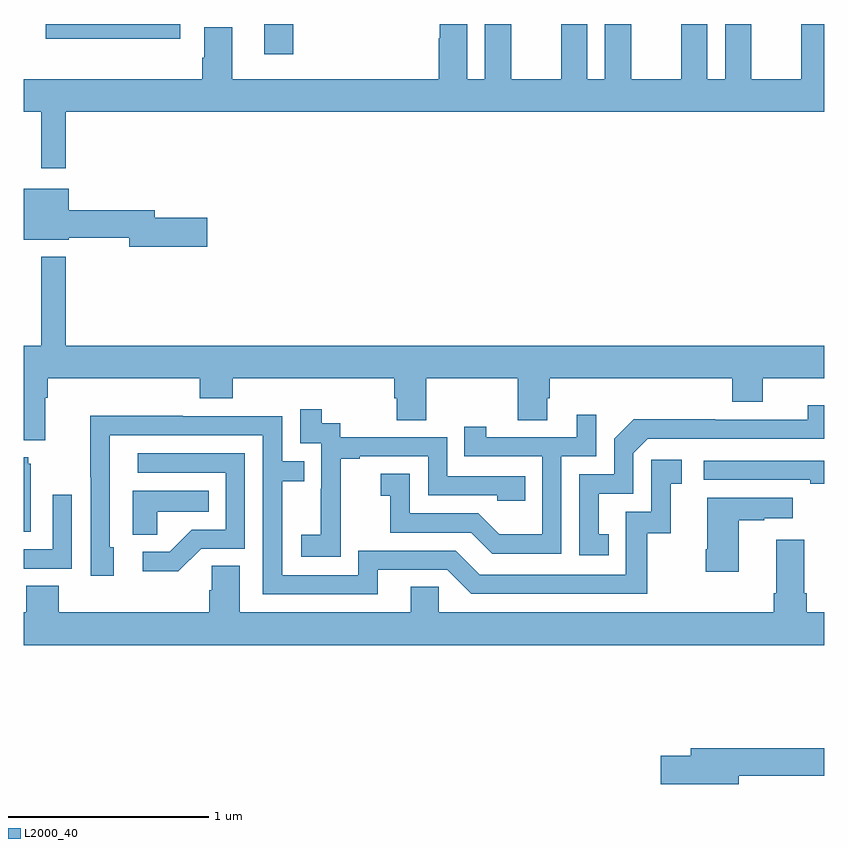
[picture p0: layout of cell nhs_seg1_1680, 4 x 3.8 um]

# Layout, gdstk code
import gdstk
lib = gdstk.Library(unit=1e-6, precision=1e-09)
def R(c, l, rs):  # rectangles x0, y0, x1, y1
    for r in rs: c.add(gdstk.rectangle(r[:2], r[2:], *l))
def P(c, l, *ps):  # polygons
    for p in ps: c.add(gdstk.Polygon(p, *l))
L2000_40 = (2000, 40)

nhs_seg1_1680 = lib.new_cell('nhs_seg1_1680')
R(nhs_seg1_1680, L2000_40, [(204.203,524.049,204.347,524.199), (203.109,524.126,203.782,524.199)])
P(nhs_seg1_1680, L2000_40, [(203.209,523.76),(207,523.76),(207,524.199),(206.885,524.199),(206.885,523.924),(206.635,523.924),(206.635,524.199),(206.504,524.199),(206.504,523.924),(206.416,523.924),(206.416,524.199),(206.285,524.199),(206.285,523.924),(206.035,523.924),(206.035,524.199),(205.904,524.199),(205.904,523.924),(205.816,523.924),(205.816,524.199),(205.685,524.199),(205.685,523.924),(205.435,523.924),(205.435,524.199),(205.304,524.199),(205.304,523.924),(205.216,523.924),(205.216,524.199),(205.079,524.199),(205.079,524.129),(205.073,524.129),(205.073,523.924),(204.043,523.924),(204.043,524.182),(203.903,524.182),(203.903,524.03),(203.891,524.03),(203.891,523.924),(203,523.924),(203,523.76),(203.087,523.76),(203.087,523.479),(203.209,523.479)],
  [(203.917,523.232),(203.656,523.232),(203.656,523.268),(203.224,523.268),(203.224,523.375),(203,523.375),(203,523.121),(203.224,523.121),(203.224,523.132),(203.528,523.132),(203.528,523.085),(203.917,523.085)],
  [(203.107,522.332),(203.12,522.332),(203.12,522.428),(203.879,522.428),(203.879,522.329),(204.044,522.329),(204.044,522.428),(204.851,522.428),(204.851,522.33),(204.863,522.33),(204.863,522.22),(205.011,522.22),(205.011,522.428),(205.468,522.428),(205.468,522.22),(205.615,522.22),(205.615,522.33),(205.628,522.33),(205.628,522.428),(206.54,522.428),(206.54,522.311),(206.692,522.311),(206.692,522.428),(207,522.428),(207,522.592),(203.209,522.592),(203.209,523.036),(203.087,523.036),(203.087,522.592),(203,522.592),(203,522.119),(203.107,522.119)],
  [(205.922,521.649),(205.873,521.649),(205.873,521.853),(206.046,521.853),(206.046,522.054),(206.118,522.126),(207,522.126),(207,522.295),(206.916,522.295),(206.916,522.222),(206.456,522.222),(206.456,522.224),(206.048,522.224),(205.95,522.126),(205.95,521.949),(205.776,521.949),(205.776,521.544),(205.922,521.544)],
  [(204.585,521.743),(204.584,521.743),(204.584,522.027),(204.679,522.027),(204.679,522.039),(205.02,522.039),(205.02,521.844),(205.365,521.844),(205.365,521.817),(205.505,521.817),(205.505,521.94),(205.116,521.94),(205.116,522.135),(204.582,522.135),(204.582,522.204),(204.49,522.204),(204.49,522.274),(204.381,522.274),(204.381,522.105),(204.486,522.105),(204.486,521.876),(204.485,521.876),(204.485,521.647),(204.387,521.647),(204.387,521.537),(204.585,521.537)],
  [(205.686,522.039),(205.86,522.039),(205.86,522.246),(205.763,522.246),(205.763,522.135),(205.312,522.135),(205.312,522.187),(205.201,522.187),(205.201,522.039),(205.59,522.039),(205.59,521.65),(205.376,521.65),(205.272,521.754),(204.93,521.754),(204.93,521.953),(204.783,521.953),(204.783,521.843),(204.832,521.843),(204.832,521.658),(205.235,521.658),(205.34,521.553),(205.686,521.553)],
  [(204.769,521.472),(205.116,521.472),(205.236,521.352),(206.116,521.352),(206.116,521.655),(206.234,521.655),(206.234,521.901),(206.287,521.901),(206.287,522.022),(206.136,522.022),(206.136,521.763),(206.007,521.763),(206.007,521.448),(205.278,521.448),(205.158,521.568),(204.672,521.568),(204.672,521.445),(204.291,521.445),(204.291,521.914),(204.401,521.914),(204.401,522.015),(204.291,522.015),(204.291,522.24),(203.795,522.24),(203.795,522.242),(203.332,522.242),(203.332,521.935),(203.334,521.935),(203.334,521.442),(203.449,521.442),(203.449,521.586),(203.43,521.586),(203.43,522.144),(204.195,522.144),(204.195,521.349),(204.769,521.349)],
  [(203.886,521.577),(204.105,521.577),(204.105,522.054),(203.571,522.054),(203.571,521.958),(204.009,521.958),(204.009,521.673),(203.84,521.673),(203.729,521.562),(203.595,521.562),(203.595,521.465),(203.773,521.465)],
  [(203.035,522.003),(203.024,522.003),(203.024,522.034),(203,522.034),(203,521.663),(203.035,521.663)],
  [(207,522.018),(206.397,522.018),(206.397,521.922),(206.929,521.922),(206.929,521.902),(207,521.902)],
  [(203.667,521.762),(203.924,521.762),(203.924,521.866),(203.546,521.866),(203.546,521.647),(203.667,521.647)],
  [(203.241,521.847),(203.145,521.847),(203.145,521.574),(203,521.574),(203,521.478),(203.241,521.478)],
  [(206.572,521.719),(206.699,521.719),(206.699,521.729),(206.842,521.729),(206.842,521.833),(206.414,521.833),(206.414,521.575),(206.407,521.575),(206.407,521.463),(206.572,521.463)],
  [(207,521.26),(206.912,521.26),(206.912,521.356),(206.899,521.356),(206.899,521.623),(206.759,521.623),(206.759,521.356),(206.747,521.356),(206.747,521.26),(205.074,521.26),(205.074,521.387),(204.935,521.387),(204.935,521.26),(204.079,521.26),(204.079,521.492),(203.94,521.492),(203.94,521.369),(203.927,521.369),(203.927,521.26),(203.174,521.26),(203.174,521.393),(203.014,521.393),(203.014,521.26),(203,521.26),(203,521.096),(207,521.096)],
  [(206.572,520.444),(207,520.444),(207,520.58),(206.333,520.58),(206.333,520.544),(206.184,520.544),(206.184,520.402),(206.572,520.402)])

lib.write_gds('nhs_seg1_1680.gds')
